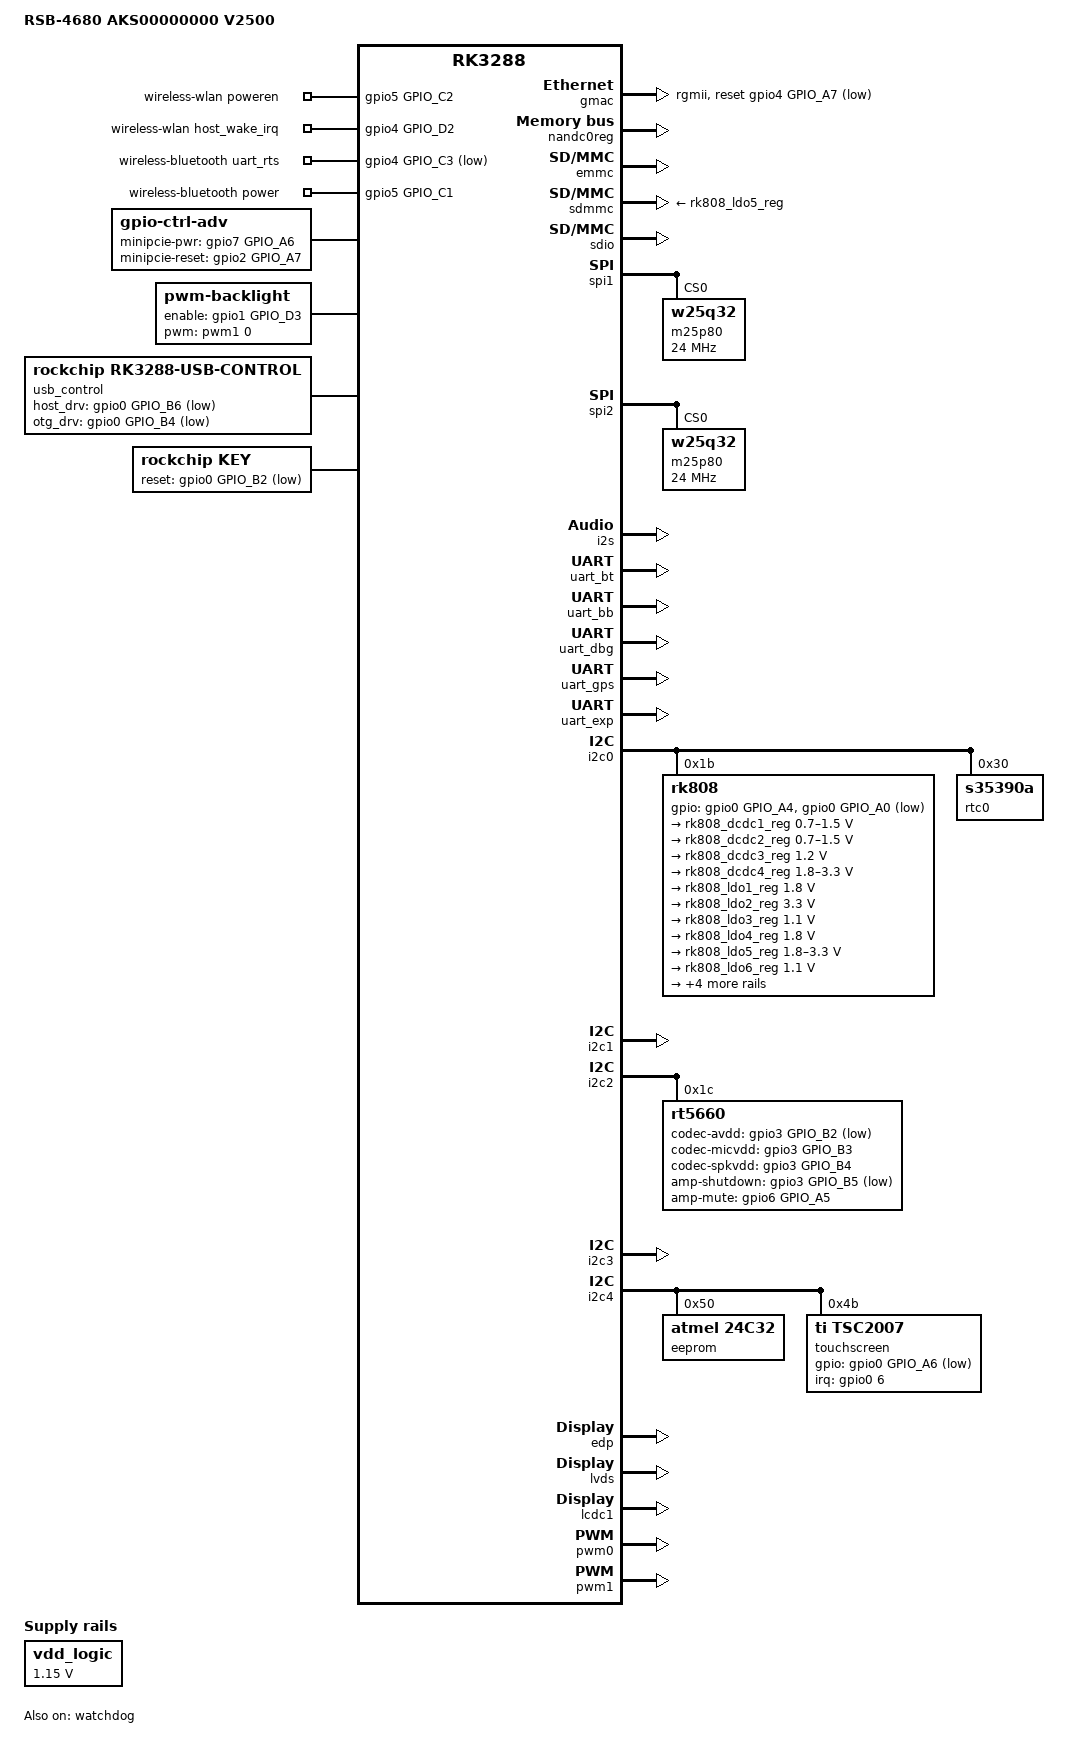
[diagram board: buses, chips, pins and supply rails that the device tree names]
/dts-v1/;

#define ENABLE_8CH_SPDIF 0

#include "rk3288.dtsi"
#include "lcd-g070vw01.dtsi"
#include "lcd-g150xgel05.dtsi"
#include "lcd-g215hvn01.dtsi"
#include "lcd-p460hvn02.1.dtsi"
#include "lcd-lmt101dnmfdd.dtsi"
#include "lcd-lmt150dngfdd.dtsi"
#include "lcd-m101nwwb-r3.dtsi"
#include "lcd-tm070rdhg25.dtsi"
#include "lcd-hdmi.dtsi"
#include "lcd-ch7517a.dtsi"
#include "rk3288-adv-sensor.dtsi"
/ {
	//format:board-name boardSN swversion
	model = "RSB-4680 AKS00000000 V2500";
	aliases {
		ethernet0 = &gmac;
		lvds = &lvds;
		edp = &edp;
		lcdc2 = &lcdc2;
	};

	fiq-debugger {
		status = "disabled";
		rockchip,baudrate = <115200>;
	};

	wireless-wlan {
		compatible = "wlan-platdata";

		/* wifi_chip_type - wifi chip define
                 * ap6210, ap6330, ap6335
                 * rtl8188eu, rtl8723bs, rtl8723bu
                 * esp8089
		*/
		wifi_chip_type = "rtl8723bs";

		sdio_vref = <1800>; //1800mv or 3300mv

        //keep_wifi_power_on;
/*
        //power_ctrl_by_pmu;
        power_pmu_regulator = "act_ldo3";
        power_pmu_enable_level = <1>; //1->HIGH, 0->LOW

        //vref_ctrl_enable;
        //vref_ctrl_gpio = <&gpio0 GPIO_A2 GPIO_ACTIVE_HIGH>;
        vref_pmu_regulator = "act_ldo3";
        vref_pmu_enable_level = <1>; //1->HIGH, 0->LOW
*/
        WIFI,poweren_gpio = <&gpio5 GPIO_C2 GPIO_ACTIVE_HIGH>;
        WIFI,host_wake_irq = <&gpio4 GPIO_D2 GPIO_ACTIVE_HIGH>;
        //WIFI,reset_gpio = <&gpio0 GPIO_A2 GPIO_ACTIVE_LOW>;

		status = "okay";
	};

	wireless-bluetooth {
		compatible = "bluetooth-platdata";

		//wifi-bt-power-toggle;

		uart_rts_gpios = <&gpio4 GPIO_C3 GPIO_ACTIVE_LOW>;
		pinctrl-names = "default","rts_gpio";
		pinctrl-0 = <&uart0_rts>;
		pinctrl-1 = <&uart0_rts_gpio>;

		BT,power_gpio = <&gpio5 GPIO_C1 GPIO_ACTIVE_HIGH>;
		//BT,reset_gpio = <&gpio4 GPIO_D5 GPIO_ACTIVE_HIGH>;
		//BT,wake_gpio = <&gpio4 GPIO_D2 GPIO_ACTIVE_HIGH>;
		//BT,wake_host_irq = <&gpio4 GPIO_D7 GPIO_ACTIVE_HIGH>;

		status = "okay";
	};

	gpio-ctrl-adv {
		compatible = "gpio-ctrl-adv";
		minipcie-pwr-gpio = <&gpio7 GPIO_A6 GPIO_ACTIVE_HIGH>;
		minipcie-reset-gpio = <&gpio2 GPIO_A7 GPIO_ACTIVE_HIGH>;
		timing-interval = <10>;
		status = "okay";
	};
	backlight {
		compatible = "pwm-backlight";
		pwms = <&pwm1 0 25000>;
		rockchip,pwm_id= <1>;
		brightness-levels = <0 1 2 3 4 5 6 7 8 9 10 11 12 13 14 15 16 17 18 19 20 21 22 23 24 25 26 27 28 29 30 31 32 33 34 35 36 37 38 39 40 41 42 43 44 45 46 47 48 49 50 51 52 53 54 55 56 57 58 59 60 61 62 63 64 65 66 67 68 69 70 71 72 73 74 75 76 77 78 79 80 81 82 83 84 85 86 87 88 89 90 91 92 93 94 95 96 97 98 99 100 101 102 103 104 105 106 107 108 109 110 111 112 113 114 115 116 117 118 119 120 121 122 123 124 125 126 127 128 129 130 131 132 133 134 135 136 137 138 139 140 141 142 143 144 145 146 147 148 149 150 151 152 153 154 155 156 157 158 159 160 161 162 163 164 165 166 167 168 169 170 171 172 173 174 175 176 177 178 179 180 181 182 183 184 185 186 187 188 189 190 191 192 193 194 195 196 197 198 199 200 201 202 203 204 205 206 207 208 209 210 211 212 213 214 215 216 217 218 219 220 221 222 223 224 225 226 227 228 229 230 231 232 233 234 235 236 237 238 239 240 241 242 243 244 245 246 247 248 249 250 251 252 253 254 255>;
		default-brightness-level = <200>;
		enable-gpios = <&gpio1 GPIO_D3 GPIO_ACTIVE_HIGH>;
	};

	codec_hdmi_i2s: codec-hdmi-i2s {
		compatible = "hdmi-i2s";
		status = "disabled";
	};

	codec_hdmi_spdif: codec-hdmi-spdif {
		compatible = "hdmi-spdif";
		status = "disabled";
	};

	codec_edp_spdif: codec-edp-spdif {
		compatible = "hdmi-spdif";
		status = "disabled";
	};

	rockchip-hdmi-i2s {
		compatible = "rockchip-hdmi-i2s";
		status = "disabled";
		dais {
			dai0 {
				audio-codec = <&codec_hdmi_i2s>;
				audio-controller = <&i2s>;
				format = "i2s";
				//continuous-clock;
				//bitclock-inversion;
				//frame-inversion;
				//bitclock-master;
				//frame-master;
			};
		};
	};
	
	rockchip-hdmi-spdif {
		status = "disabled";
		compatible = "rockchip-hdmi-spdif";
		dais {
			dai0 {
				audio-codec = <&codec_hdmi_spdif>;
				audio-controller = <&spdif>;
			};
		};
	};

	rockchip-edp-spdif {
		status = "disabled";
		compatible = "rockchip-spdif-card";
		dais {
			dai0 {
				audio-codec = <&codec_edp_spdif>;
				audio-controller = <&spdif>;
			};
		};
	};

	rockchip-rt5660 {
		compatible = "rockchip-rt5660";
		dais {
			dai0 {
				audio-codec = <&rt5660>;
				audio-controller = <&i2s>;
				format = "i2s";
				//continuous-clock;
				//bitclock-inversion;
				//frame-inversion;
				//bitclock-master;
				//frame-master;
			};
			dai1 {
				audio-codec = <&rt5660>;
				audio-controller = <&i2s>;
				format = "dsp_a";
				//continuous-clock;
				bitclock-inversion;
				//frame-inversion;
				//bitclock-master;
				//frame-master;
			};
		};
	};

	usb_control {
		compatible = "rockchip,rk3288-usb-control";

		host_drv_gpio = <&gpio0 GPIO_B6 GPIO_ACTIVE_LOW>;
		otg_drv_gpio = <&gpio0 GPIO_B4 GPIO_ACTIVE_LOW>;

		rockchip,remote_wakeup;
		rockchip,usb_irq_wakeup;
	};

	chosen {
		bootargs = "vmalloc=512M quiet";
	};
	
	regulators {
		compatible = "simple-bus";
		#address-cells = <1>;
		#size-cells = <0>;
		vdd_logic: regulator@14 {
			compatible = "regulator-fixed";
			regulator-name = "vdd_logic";
			regulator-min-microvolt = <1150000>;
			regulator-max-microvolt = <1150000>;
			regulator-always-on;
		};
	};
  
	key {
		compatible = "rockchip,key";
		//pinctrl-names = "default";
		//pinctrl-0 = <&sleep_btn &power_btn>;
		reset-gpio = <&gpio0 GPIO_B2 GPIO_ACTIVE_LOW>;

		power-key {
			gpios = <&gpio0 GPIO_A5 GPIO_ACTIVE_LOW>;
			linux,code = <116>;
			label = "power";
			gpio-key,wakeup;
                        polling-release-time = <1000>;//unit:ms
		};
	};		

	//dummy lcdc2,to fix prmry and extend dual lcdc issue
	lcdc2: lcdc@ff950000 {
		compatible = "rockchip,rk3288-lcdc";
		rockchip,prop = <EXTEND>;
		rockchip,pwr18 = <0>;
		rockchip,iommu-enabled = <0>;
		reg = <0xff930000 0x10000>;
		interrupts = <GIC_SPI 15 IRQ_TYPE_LEVEL_HIGH>;
		pinctrl-names = "default", "gpio";
		pinctrl-0 = <&lcdc0_gpio>;
		pinctrl-1 = <&lcdc0_gpio>;
		status = "disabled";
		clocks = <&clk_gates15 5>, <&dclk_lcdc0>, <&clk_gates15 6>, <&pd_vop0>;
		clock-names = "aclk_lcdc", "dclk_lcdc", "hclk_lcdc", "pd_lcdc";
	};
};

&gmac {
//	power_ctl_by = "gpio";	//"gpio" "pmu"
//	power-gpio = <&gpio4 GPIO_A2 GPIO_ACTIVE_HIGH>;
//	power-pmu = "act_ldo"
	reset-gpio = <&gpio4 GPIO_A7 GPIO_ACTIVE_LOW>;
	phy-mode = "rgmii";
	clock_in_out = "input";//"input";
	tx_delay = <0x0>;//mac tx delay
	rx_delay = <0x0>;//mac rx delay
	gmac_v18sel = <1>;//rgmii 1.8v/3.3v voltage
	phy_reg_config = <//address mask value
						0x0014 0x200 0x200
						0x0018 0xfff 0x65b
						0x001e 0x200 0x200
						0x0032 0x3 0x3
						0x0086 0xff 0x80
						0x0170 0x1f00 0x0000
					>;
	status = "okay";
};

&pinctrl {
	//pinctrl-names = "default";
	//pinctrl-0 = <&bklt_en &lvds_vdd_en &wdt_pwn &wdt_en &gpio8_a0 &gpio8_a1 &gpio8_a2 &gpio8_a3>;

	//used for init some gpio
	init-gpios =</*&gpio0 GPIO_C2 GPIO_ACTIVE_HIGH */
			/*&gpio7 GPIO_B7 GPIO_ACTIVE_LOW */>;

	//could add other pinctrl definition such as gpio

	uart3_rts_pin {
		uart3_rts_gpio:gpio7-b2 {
			rockchip,pins = <GPIO7_B2>;
			rockchip,pull = <VALUE_PULL_DISABLE>;
		};
	};

	uart4_rts_pin {
		uart4_rts_gpio:gpio5-b5 {
			rockchip,pins = <GPIO5_B5>;
			rockchip,pull = <VALUE_PULL_DISABLE>;
		};
	};

	// gmac drive strength
	gpio4_gmac {
		mac_clk: mac-clk {
			rockchip,drive = <VALUE_DRV_12MA>;
		};

		mac_txpins: mac-txpins {
			rockchip,drive = <VALUE_DRV_12MA>;
		};

		mac_rxpins: mac-rxpins {
			rockchip,drive = <VALUE_DRV_12MA>;
		};

		mac_crs: mac-crs {
			rockchip,drive = <VALUE_DRV_12MA>;
		};

		mac_mdpins: mac-mdpins {
			rockchip,drive = <VALUE_DRV_12MA>;
		};
	};

	// sdmmc0 drive strength
	gpio6_sdmmc0 {
		sdmmc0_clk: sdmmc0-clk {
			rockchip,drive = <VALUE_DRV_8MA>;
		};

		sdmmc0_cmd: sdmmc0-cmd {
			rockchip,drive = <VALUE_DRV_8MA>;
		};

		sdmmc0_dectn: sdmmc0-dectn{
			rockchip,drive = <VALUE_DRV_8MA>;
		};

		sdmmc0_bus1: sdmmc0-bus-width1 {
			rockchip,drive = <VALUE_DRV_8MA>;
		};

		sdmmc0_bus4: sdmmc0-bus-width4 {
			rockchip,drive = <VALUE_DRV_8MA>;
		};
	};
};

&nandc0 {
	status = "disabled"; // used nand set "disabled" ,used emmc set "okay"
};
&nandc1 {
	status = "disabled"; // used nand set "disabled" ,used emmc set "okay"
};   

&nandc0reg {
	status = "okay"; // used nand set "disabled" ,used emmc set "okay"
};

&emmc {
	clock-frequency = <100000000>;
	clock-freq-min-max = <400000 100000000>;

	supports-highspeed;
	supports-emmc;
	//supports-sd;
	bootpart-no-access;

	//supports-DDR_MODE; //you should set the two value in your project. only close in RK3288-SDK board.
	caps2-mmc-hs200;

	ignore-pm-notify;
	keep-power-in-suspend;

	//poll-hw-reset 
	status = "okay";
};

&sdmmc {
	clock-frequency = <50000000>;
	clock-freq-min-max = <400000 50000000>;
	supports-highspeed;
	supports-sd;
	broken-cd;
	card-detect-delay = <200>;

	ignore-pm-notify;
	keep-power-in-suspend;

	vmmc-supply = <&rk808_ldo5_reg>;
	status = "okay";
};

&sdio {
	clock-frequency = <50000000>;
	clock-freq-min-max = <200000 50000000>;
	supports-highspeed;
	supports-sdio;
	ignore-pm-notify;
	keep-power-in-suspend;
	//cap-sdio-irq;
	status = "okay";
};

&spi0 {
	status = "disabled";
	max-freq = <48000000>;	
	/*
	spi_test@00 {
		compatible = "rockchip,spi_test_bus0_cs0";
		reg = <0>;
		spi-max-frequency = <24000000>;
		//spi-cpha;
		//spi-cpol;
		poll_mode = <0>;
		type = <0>;
		enable_dma = <0>;

	};

	spi_test@01 {
		compatible = "rockchip,spi_test_bus0_cs1";
		reg = <1>;
		spi-max-frequency = <24000000>;
		spi-cpha;
		spi-cpol;
		poll_mode = <0>;
		type = <0>;
		enable_dma = <0>;	        
	};
	*/
};

&spi1 {
	status = "okay";
	max-freq = <48000000>;
	
	m25p80@0 {
		compatible = "w25q32";
		spi-max-frequency = <24000000>;
		reg = <0>;
		spi-cpol;
		spi-cpha;
	};
	/*
	spidev@0 {
		compatible = "spidev";
		spi-max-frequency = <24000000>;
		reg = <0>;
		spi-cpha;
		spi-cpol;
	};*/
};

&spi2 {
	status = "okay";
	max-freq = <48000000>;
	m25p80@0 {
		compatible = "w25q32";
		spi-max-frequency = <24000000>;
		reg = <0>;	/* CS address. */
		spi-cpol;
		spi-cpha;
	};
};

&i2s {
	status = "okay";
	rockchip,pwr18 = <1>;
};

&uart_bt {
    status = "okay";
    dma-names = "tx", "rx";
    pinctrl-0 = <&uart0_xfer &uart0_cts>;
    rx-trigger-count = <0>;
    rx-trigger-timer = <0>;//unit 2ms
};

&uart_bb {
	status = "okay";
	dma-names = "tx", "rx";
	pinctrl-names = "default","rts_gpio";
	pinctrl-1 = <&uart1_xfer &uart1_rts_gpio>;
	rx-trigger-count = <0>;
	rx-trigger-timer = <0>;//unit 2ms
};

&uart_dbg {
	status = "okay";
	//dma-names = "tx", "rx";
};

&uart_gps {
	status = "okay";
	dma-names = "tx", "rx";
	pinctrl-names = "default","rts_gpio";
	pinctrl-1 = <&uart3_xfer &uart3_rts_gpio>;
	rx-trigger-count = <0>;
	rx-trigger-timer = <0>;//unit 2ms
};

&uart_exp {
	status = "okay";
	dma-names = "tx", "rx";
	pinctrl-names = "default","rts_gpio";
	pinctrl-1 = <&uart4_xfer &uart4_rts_gpio>;
	uart-sel-gpio = <&gpio5 GPIO_C0 GPIO_ACTIVE_HIGH>;
	rs485-dir-gpio = <&gpio5 GPIO_B5 GPIO_ACTIVE_LOW>;
	rx-trigger-count = <0>;
	rx-trigger-timer = <0>;//unit 2ms
};

&i2c0 {
	status = "okay";
	rk808: rk808@1b {
		reg = <0x1b>;
		status = "okay";
	};

	rtc0: rtc@30  {
		compatible = "s35390a";
		reg = <0x30>;
	};
};

&i2c1 {
	status = "okay";
};

&i2c2 {
	status = "okay";

	rt5660: rt5660@1c {
		compatible = "rt5660";
		reg = <0x1c>;
		codec-avdd-gpio = <&gpio3 GPIO_B2 GPIO_ACTIVE_LOW>;
		codec-avdd-delay = <100>;
		codec-micvdd-gpio = <&gpio3 GPIO_B3 GPIO_ACTIVE_HIGH>;
		codec-spkvdd-gpio = <&gpio3 GPIO_B4 GPIO_ACTIVE_HIGH>;
		amp-shutdown-gpio = <&gpio3 GPIO_B5 GPIO_ACTIVE_LOW>;
		amp-mute-gpio = <&gpio6 GPIO_A5 GPIO_ACTIVE_HIGH>;
		/*
		spk-num= <2>;
		modem-input-mode = <1>;
		lout-to-modem_mode = <1>;
		spk-amplify = <2>;
		playback-if1-data_control = <0>;
		playback-if2-data_control = <0>;
		*/
	};
};

&i2c3 {
	status = "okay";
};

&i2c4 {
	status = "okay";
	eeprom: eeprom@50 {
		compatible = "atmel,24c32";
		reg = <0x50>;
		pagesize = <32>;
	};
    touchscreen: tsc2007@4b {
        compatible = "ti,tsc2007";
        reg = <0x4b>;
        interrupt-parent = <&gpio0>;
        interrupts = <6 2>;
        gpios = <&gpio0 GPIO_A6 GPIO_ACTIVE_LOW>;
        ti,x-plate-ohms = <180>;
        linux,wakeup;
    };
};

&i2c5 {
	status = "disabled";
};

&fb {
	rockchip,disp-mode = <DUAL>;
	rockchip,uboot-logo-on = <0>;
};

&disp_timings {
	/* default display mode
	 * only lvds or edp can be prmry screen
	 * hdmi(720p) as extend screen
	 */
	native-mode = <&edp_1920x1080>;
	use-dts-screen = <0>;
	prmry-screen = <&hdmi_1080p>;
	extend-screen = <&edp_1920x1080>;
};

&rk_screen {
	display-timings = <&disp_timings>;
	screen0 {
		display-timings = <&disp_timings>;
		screen_prop = <PRMRY>;//PRMRY
		power_ctr {
		};
	};
	screen1 {
		display-timings = <&disp_timings>;
		screen_prop = <EXTEND>;//EXTEND
		power_ctr {
		};
	};
};

&edp {
    status = "okay";
    //prop = <EXTEND>;
    lane_count = <2>;
    hotplg_gpio = <&gpio7 GPIO_B3 GPIO_ACTIVE_HIGH>;
    rockchip,edp-audio-enable = <0>;
};

&lvds{
    status = "okay";
    //prop = <EXTEND>;
    power_ctr {
		rockchip,debug = <0>;
		lcd_en:lcd_en {
			rockchip,power_type = <GPIO>;
			gpios = <&gpio1 GPIO_D2 GPIO_ACTIVE_HIGH>;
			rockchip,delay = <10>;
		};
	};
};

&lcdc0 {
	status = "disabled";
	rockchip,mirror = <NO_MIRROR>;
	pinctrl-names = "default", "gpio";
	pinctrl-0 = <&lcdc0_gpio>;
	pinctrl-1 = <&lcdc0_gpio>;
};

&lcdc1 {
	status = "okay";
	rockchip,mirror = <NO_MIRROR>;
	rockchip,cabc_mode = <0>;
};

&hdmi {
	status = "disabled";
	rockchip,defaultmode = <16>;//HDMI_1920X1080P_60HZ
	rockchip,hdmi_video_source = <DISPLAY_SOURCE_LCDC0>;
};

&spdif {
	status = "disabled";
};

&ps2c {
	status = "disabled";
};

&adc {
	status = "disabled";
};

&pwm0 {
	status = "okay";
};

&pwm1 {
	status = "okay";
};

&watchdog {
	status = "okay";
};

&clk_core_dvfs_table {
	support-pvtm = <1>;
	target-temp = <105>;
	min_temp_limit = <816000>;
	pvtm-operating-points = <
        /* KHz    uV    margin(uV)*/
        //126000 900000   25000
        //216000 900000   25000
        //312000 900000   25000
        408000 900000   25000
        600000 950000   25000
        //696000 950000   25000
        816000 1000000  25000
        1008000 1050000 25000
        1200000 1100000 25000
        1416000 1200000 25000
        //1512000 1300000 25000
        1608000 1350000 25000
    >;
	status="okay";
};

&clk_gpu_dvfs_table {
	operating-points = <
		/* KHz    uV */
//		100000 950000
		200000 950000
		300000 950000
		420000 1100000
		500000 1150000
		>;
	status="okay";
};

&clk_ddr_dvfs_table {
	operating-points = <
		/* KHz    uV */
		200000 1150000
		300000 1150000
		400000 1150000
		528000 1150000
		>;

	freq-table = <
		/*status		freq(KHz)*/
		SYS_STATUS_NORMAL	400000
		SYS_STATUS_SUSPEND	 300000
		SYS_STATUS_VIDEO_4K     528000
		SYS_STATUS_PERFORMANCE  528000
		/*SYS_STATUS_VIDEO_1080P  324000
		SYS_STATUS_VIDEO_4K     528000
		SYS_STATUS_PERFORMANCE  528000
		SYS_STATUS_DUALVIEW	400000
		SYS_STATUS_BOOST	400000
		SYS_STATUS_ISP		400000*/
		>;
	bd-freq-table = <
		/* bandwidth   freq */
		5000           800000
		3500           456000
		2600           396000
		2000           324000
		>;
	auto-freq-table = <
		240000
		324000
		396000
		528000
		>;
	auto-freq=<0>;
	status="okay";
};

/include/ "rk808.dtsi"
&rk808 {
	gpios =<&gpio0 GPIO_A4 GPIO_ACTIVE_HIGH>,<&gpio0 GPIO_A0 GPIO_ACTIVE_LOW>;
	rk808,system-power-controller;

	regulators {
		
		rk808_dcdc1_reg: regulator@0{
			regulator-name= "vdd_arm";
			regulator-min-microvolt = <700000>;
			regulator-max-microvolt = <1500000>;
			regulator-always-on;
			regulator-boot-on;
			regulator-initial-mode = <0x2>;
			regulator-initial-state = <3>;
			regulator-state-mem {
				regulator-state-mode = <0x2>;
				regulator-state-enabled;
				regulator-state-uv = <900000>;
			};
		};

		rk808_dcdc2_reg: regulator@1 {
			regulator-name= "vdd_gpu";
			regulator-min-microvolt = <700000>;
			regulator-max-microvolt = <1500000>;
			regulator-always-on;
			regulator-boot-on;
			regulator-initial-mode = <0x2>;
			regulator-initial-state = <3>;
			regulator-state-mem {
				regulator-state-mode = <0x2>;
				regulator-state-enabled;
				regulator-state-uv = <900000>;
			};
		};

		rk808_dcdc3_reg: regulator@2 {
			regulator-name= "rk_dcdc3";
			regulator-min-microvolt = <1200000>;
			regulator-max-microvolt = <1200000>;
			regulator-always-on;
			regulator-boot-on;
			regulator-initial-mode = <0x2>;
			regulator-initial-state = <3>;
			regulator-state-mem {
				regulator-state-mode = <0x2>;
				regulator-state-enabled;
				regulator-state-uv = <1200000>;
			};
		};

		rk808_dcdc4_reg: regulator@3 {
			regulator-name= "vccio";
			regulator-min-microvolt = <1800000>;
			regulator-max-microvolt = <3300000>;
			regulator-always-on;
			regulator-boot-on;
			regulator-initial-mode = <0x2>;
			regulator-initial-state = <3>;
			regulator-state-mem {
				regulator-state-mode = <0x2>;
				regulator-state-enabled;
				regulator-state-uv = <3300000>;
			};
		};

		rk808_ldo1_reg: regulator@4 {
			regulator-name= "rk_ldo1";
			regulator-min-microvolt = <1800000>;
			regulator-max-microvolt = <1800000>;
			regulator-always-on;
			regulator-boot-on;
			regulator-initial-state = <3>;
			regulator-state-mem {
				regulator-state-enabled;
				regulator-state-uv = <1800000>;
			};
		};

		rk808_ldo2_reg: regulator@5 {
			regulator-name= "rk_ldo2";
			regulator-min-microvolt = <3300000>;
			regulator-max-microvolt = <3300000>;
			regulator-always-on;
			regulator-boot-on;
			regulator-initial-state = <3>;
			regulator-state-mem {
				regulator-state-enabled;
				regulator-state-uv = <3300000>;
			};
		};

		rk808_ldo3_reg: regulator@6 {
			regulator-name= "rk_ldo3";
			regulator-min-microvolt = <1100000>;
			regulator-max-microvolt = <1100000>;
			regulator-always-on;
			regulator-boot-on;
			regulator-initial-state = <3>;
			regulator-state-mem {
				regulator-state-enabled;
				regulator-state-uv = <1000000>;
			};
		};

		rk808_ldo4_reg:regulator@7 {
			regulator-name= "rk_ldo4";
			regulator-min-microvolt = <1800000>;
			regulator-max-microvolt = <1800000>;
			regulator-always-on;
			regulator-boot-on;
			regulator-initial-state = <3>;
			regulator-state-mem {
				regulator-state-disabled;
				regulator-state-uv = <1800000>;
			};
		};

		rk808_ldo5_reg: regulator@8 {
			regulator-name= "vcc_sd";
			regulator-min-microvolt = <1800000>;
			regulator-max-microvolt = <3300000>;
			regulator-always-on;
			regulator-boot-on;
			regulator-initial-state = <3>;
			regulator-state-mem {
				regulator-state-enabled;
				regulator-state-uv = <3300000>;
			};
		};

		rk808_ldo6_reg: regulator@9 {
			regulator-name= "rk_ldo6";
			regulator-min-microvolt = <1100000>;
			regulator-max-microvolt = <1100000>;
			regulator-always-on;
			regulator-boot-on;
			regulator-initial-state = <3>;
			regulator-state-mem {
				regulator-state-disabled;
				regulator-state-uv = <1000000>;
			};
		};

		rk808_ldo7_reg: regulator@10 {
			regulator-name= "rk_ldo7";
			regulator-min-microvolt = <1800000>;
			regulator-max-microvolt = <1800000>;
			regulator-always-on;
			regulator-boot-on;
			regulator-initial-state = <3>;
			regulator-state-mem {
				regulator-state-enabled;
				regulator-state-uv = <1800000>;
			};
		};

		rk808_ldo8_reg: regulator@11 {
			regulator-name= "rk_ldo8";
			regulator-min-microvolt = <1800000>;
			regulator-max-microvolt = <1800000>;
			regulator-always-on;
			regulator-boot-on;
			regulator-initial-state = <3>;
			regulator-state-mem {
				regulator-state-enabled;
				regulator-state-uv = <1800000>;
			};
		};

		rk808_ldo9_reg: regulator@12 {
			regulator-name= "rk_ldo9";
			regulator-always-on;
			regulator-boot-on;
			regulator-initial-state = <3>;
			regulator-state-mem {
				regulator-state-enabled;
			};
		};

		rk808_ldo10_reg: regulator@13 {
			regulator-name= "rk_ldo10";
			regulator-always-on;
			regulator-boot-on;
			regulator-initial-state = <3>;
			regulator-state-mem {
				regulator-state-disabled;
			};
		};
	};
};

&lcdc_vdd_domain {
	regulator-name = "vcc30_lcd";
	};
&dpio_vdd_domain{
	regulator-name = "vcc18_cif";	
	};
&flash0_vdd_domain{
	regulator-name = "vcc_flash";	
	};
&flash1_vdd_domain{
	regulator-name = "vcc_flash";			
	};
&apio3_vdd_domain{
	regulator-name = "vccio_wl";		
	};
&apio5_vdd_domain{
	regulator-name = "vccio";		
	};
&apio4_vdd_domain{
	regulator-name = "rk_ldo4";		
	};
&apio1_vdd_domain{
	regulator-name = "vccio";			
	};
&apio2_vdd_domain{
	regulator-name = "vccio";		
	};
&sdmmc0_vdd_domain{
	regulator-name = "vcc_sd";			
	};

&dwc_control_usb {
	usb_uart {
		status = "disabled";
	};
};

&isp{
	pinctrl-names = "default", "isp_dvp8bit2", "isp_dvp10bit",
			"isp_dvp12bit", "isp_dvp8bit0", "isp_mipi_fl",
			"isp_mipi_fl_prefl";
	/delete-property/ pinctrl-7;
	/delete-property/ pinctrl-8;
	/delete-property/ rockchip,gpios;
	status = "disabled";
};

&cif{
	status = "disabled";
};

&rk3288_cif_sensor{
	status = "disabled";
};
